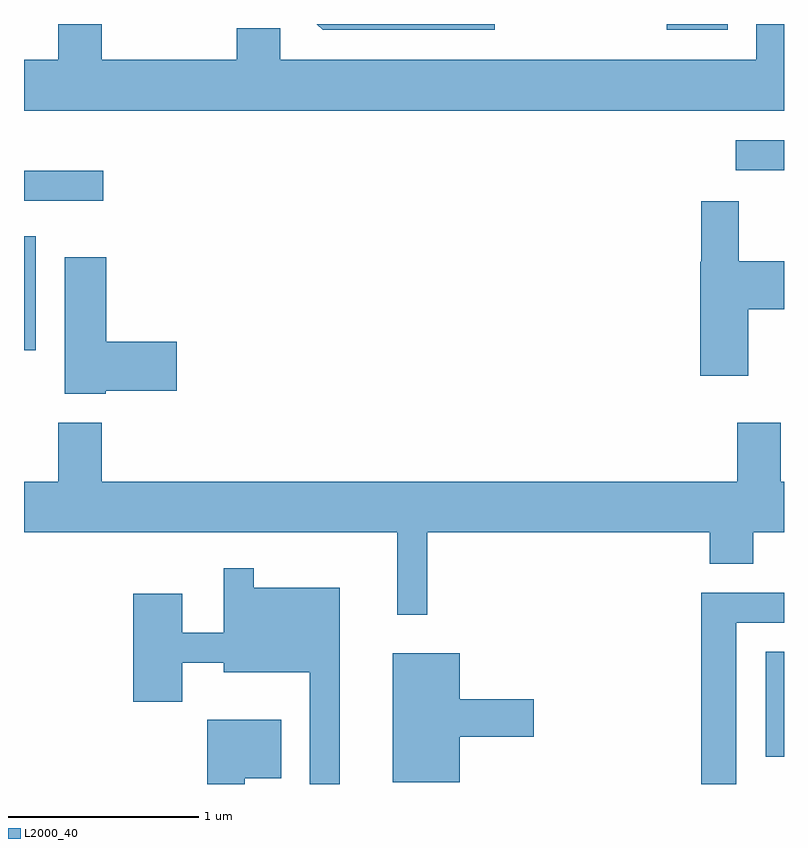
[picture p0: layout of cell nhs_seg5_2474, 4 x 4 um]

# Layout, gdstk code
import gdstk
lib = gdstk.Library(unit=1e-6, precision=1e-09)
def R(c, l, rs):  # rectangles x0, y0, x1, y1
    for r in rs: c.add(gdstk.rectangle(r[:2], r[2:], *l))
def P(c, l, *ps):  # polygons
    for p in ps: c.add(gdstk.Polygon(p, *l))
L2000_40 = (2000, 40)

nhs_seg5_2474 = lib.new_cell('nhs_seg5_2474')
R(nhs_seg5_2474, L2000_40, [(261.516,1522.216,261.611,1522.769), (257.611,1524.356,257.674,1524.954), (257.611,1525.141,258.028,1525.299), (261.358,1525.301,261.611,1525.459), (260.993,1526.041,261.314,1526.072)])
P(nhs_seg5_2474, L2000_40, [(261.611,1526.072),(261.466,1526.072),(261.466,1525.884),(258.959,1525.884),(258.959,1526.049),(258.731,1526.049),(258.731,1525.884),(258.019,1525.884),(258.019,1526.072),(257.791,1526.072),(257.791,1525.884),(257.611,1525.884),(257.611,1525.616),(261.611,1525.616)],
  [(260.089,1526.072),(259.152,1526.072),(259.183,1526.041),(260.089,1526.041)],
  [(261.424,1524.571),(261.611,1524.571),(261.611,1524.824),(261.374,1524.824),(261.374,1525.139),(261.176,1525.139),(261.176,1524.82),(261.171,1524.82),(261.171,1524.221),(261.424,1524.221)],
  [(258.04,1524.141),(258.414,1524.141),(258.414,1524.399),(258.044,1524.399),(258.044,1524.844),(257.826,1524.844),(257.826,1524.126),(258.04,1524.126)],
  [(259.734,1523.396),(261.221,1523.396),(261.221,1523.231),(261.449,1523.231),(261.449,1523.396),(261.611,1523.396),(261.611,1523.664),(261.594,1523.664),(261.594,1523.974),(261.366,1523.974),(261.366,1523.664),(258.019,1523.664),(258.019,1523.974),(257.791,1523.974),(257.791,1523.664),(257.611,1523.664),(257.611,1523.396),(259.576,1523.396),(259.576,1522.963),(259.734,1522.963)],
  [(259.274,1523.104),(258.819,1523.104),(258.819,1523.208),(258.661,1523.208),(258.661,1522.869),(258.444,1522.869),(258.444,1523.074),(258.186,1523.074),(258.186,1522.506),(258.444,1522.506),(258.444,1522.711),(258.661,1522.711),(258.661,1522.661),(259.116,1522.661),(259.116,1522.072),(259.274,1522.072)],
  [(261.359,1522.921),(261.611,1522.921),(261.611,1523.079),(261.176,1523.079),(261.176,1522.072),(261.359,1522.072)],
  [(259.904,1522.321),(260.294,1522.321),(260.294,1522.519),(259.904,1522.519),(259.904,1522.759),(259.551,1522.759),(259.551,1522.081),(259.904,1522.081)],
  [(258.774,1522.101),(258.964,1522.101),(258.964,1522.409),(258.576,1522.409),(258.576,1522.072),(258.774,1522.072)])

lib.write_gds('nhs_seg5_2474.gds')
